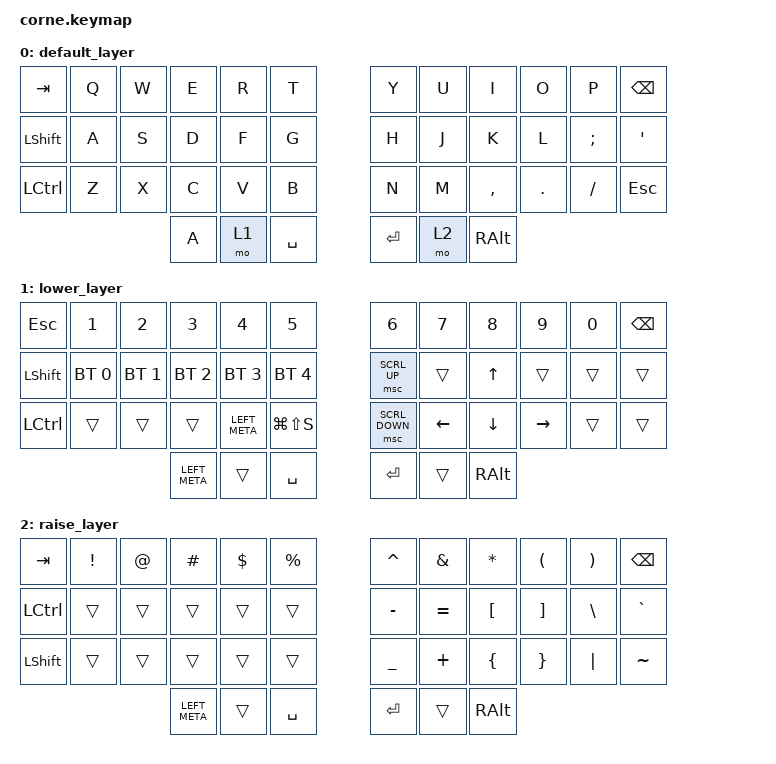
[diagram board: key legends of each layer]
/*
 * Copyright (c) 2020 The ZMK Contributors
 *
 * SPDX-License-Identifier: MIT
 */

#include <behaviors.dtsi>
#include <dt-bindings/zmk/bt.h>
#include <dt-bindings/zmk/keys.h>
#include <dt-bindings/zmk/pointing.h>

/ {
    keymap {
        compatible = "zmk,keymap";

        default_layer {
            // -----------------------------------------------------------------------------------------
            // |  TAB |  Q  |  W  |  E  |  R  |  T  |   |  Y  |  U   |  I  |  O  |  P  | BSPC |
            // | CTRL |  A  |  S  |  D  |  F  |  G  |   |  H  |  J   |  K  |  L  |  ;  |  '   |
            // | SHFT |  Z  |  X  |  C  |  V  |  B  |   |  N  |  M   |  ,  |  .  |  /  | ESC  |
            //                    | GUI | LWR | SPC |   | ENT | RSE  | ALT |

            bindings = <
&kp TAB         &kp Q  &kp W  &kp E  &kp R  &kp T        &kp Y    &kp U  &kp I      &kp O    &kp P     &kp BSPC
&kp LEFT_SHIFT  &kp A  &kp S  &kp D  &kp F  &kp G        &kp H    &kp J  &kp K      &kp L    &kp SEMI  &kp SQT
&kp LCTRL       &kp Z  &kp X  &kp C  &kp V  &kp B        &kp N    &kp M  &kp COMMA  &kp DOT  &kp FSLH  &kp ESC
                              &kp A  &mo 1  &kp SPACE    &kp RET  &mo 2  &kp RALT
            >;
        };

        lower_layer {
            // -----------------------------------------------------------------------------------------
            // |  TAB |  1  |  2  |  3  |  4  |  5  |   |  6  |  7  |  8  |  9  |  0  | BSPC |
            // | BTCLR| BT1 | BT2 | BT3 | BT4 | BT5 |   | LFT | DWN |  UP | RGT |     |      |
            // | SHFT |     |     |     |     |     |   |     |     |     |     |     |      |
            //                    | GUI |     | SPC |   | ENT |     | ALT |

            bindings = <
&kp ESCAPE      &kp N1        &kp N2        &kp N3         &kp N4         &kp N5           &kp N6          &kp N7    &kp N8    &kp N9     &kp N0  &kp BSPC
&kp LEFT_SHIFT  &bt BT_SEL 0  &bt BT_SEL 1  &bt BT_SEL 2   &bt BT_SEL 3   &bt BT_SEL 4     &msc SCRL_UP    &trans    &kp UP    &trans     &trans  &trans
&kp LCTRL       &trans        &trans        &trans         &kp LEFT_META  &kp LG(LS(S))    &msc SCRL_DOWN  &kp LEFT  &kp DOWN  &kp RIGHT  &trans  &trans
                                            &kp LEFT_META  &trans         &kp SPACE        &kp RET         &trans    &kp RALT
            >;
        };

        raise_layer {
            // -----------------------------------------------------------------------------------------
            // |  TAB |  !  |  @  |  #  |  $  |  %  |   |  ^  |  &  |  *  |  (  |  )  | BSPC |
            // | CTRL |     |     |     |     |     |   |  -  |  =  |  [  |  ]  |  \  |  `   |
            // | SHFT |     |     |     |     |     |   |  _  |  +  |  {  |  }  | "|" |  ~   |
            //                    | GUI |     | SPC |   | ENT |     | ALT |

            bindings = <
&kp TAB    &kp EXCL  &kp AT  &kp HASH       &kp DLLR  &kp PRCNT    &kp CARET  &kp AMPS   &kp ASTRK  &kp LPAR  &kp RPAR  &kp BSPC
&kp LCTRL  &trans    &trans  &trans         &trans    &trans       &kp MINUS  &kp EQUAL  &kp LBKT   &kp RBKT  &kp BSLH  &kp GRAVE
&kp LSHFT  &trans    &trans  &trans         &trans    &trans       &kp UNDER  &kp PLUS   &kp LBRC   &kp RBRC  &kp PIPE  &kp TILDE
                             &kp LEFT_META  &trans    &kp SPACE    &kp RET    &trans     &kp RALT
            >;
        };
    };
};
